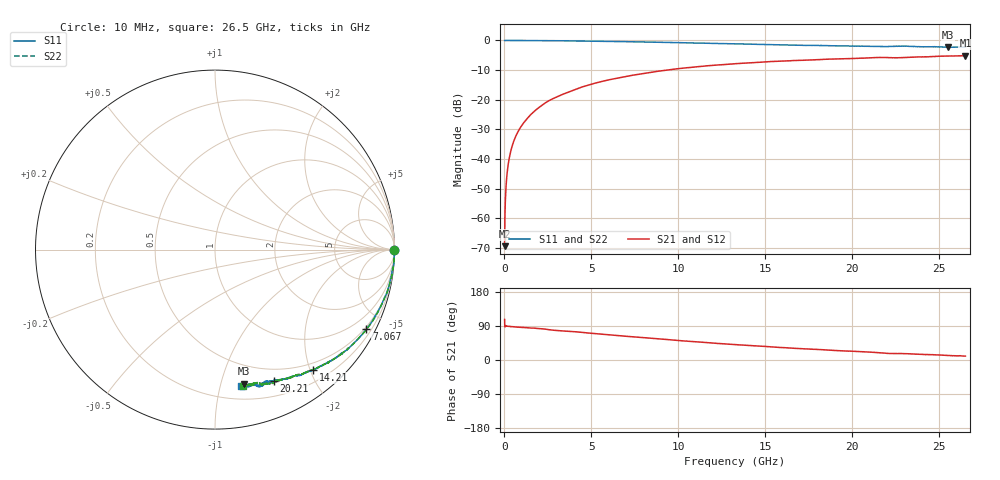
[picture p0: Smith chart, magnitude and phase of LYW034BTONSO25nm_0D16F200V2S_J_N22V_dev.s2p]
!Keysight Technologies,N5222B,MY61253708,A.15.00.15
!Date: Wednesday, June 19, 2024 08:49:51
!Correction: S11(C  2-Port  )
!S21(C  2-Port  )
!S12(C  2-Port  )
!S22(C  2-Port  )
!S2P File: Measurements: S11, S21, S12, S22:
# Hz S  RI  R 50
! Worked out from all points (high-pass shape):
!   2651 points, 10 MHz to 26.5 GHz, reference 50 ohm
!   highest |S21| = -5.10 dB at 26.5 GHz (marker M1); lowest = -69.4 dB at 10 MHz (marker M2)
!   |S21| within 3 dB of the highest: 12.69462 GHz to 12.72589 GHz (31.27 MHz wide, 0.246 % of centre); 12.74 GHz to end of sweep
!   lowest |S11| = -2.3 dB at 25.5 GHz (marker M3), VSWR 7.47, Z = 16.5 - j59.3 ohm
!   |S11| at or under -10 dB: nowhere
!   |S22| runs from -2.2 to 0.0 dB; largest |S21 - S12| = 0.0078
!   S11 on the Smith chart (normalised r, x): 10 MHz: open; 7.067 GHz: 0.41, -4.02; 14.21 GHz: 0.38, -2.05; 20.21 GHz: 0.37, -1.48; 26.5 GHz: 0.31, -1.16
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1e7  0.9988 -0.00235  -9.82e-05 0.000324  -3.85e-07 0.000666  0.9984 -0.000279
7.997358e7  0.9998 -0.00599  -1.56e-05 0.00298  3.38e-05 0.00296  0.9993 -0.00559
1.599434e8  0.9997 -0.0122  6.82e-05 0.00599  7.91e-05 0.00599  0.9995 -0.0115
1.999283e8  0.9999 -0.0146  0.000146 0.00748  0.000116 0.00754  0.9996 -0.0139
2.599057e8  0.9993 -0.0193  0.000155 0.0097  0.000175 0.00983  0.9994 -0.0184
3.598679e8  0.9991 -0.0265  0.000385 0.0134  0.00038 0.0135  0.9991 -0.0258
4.898189e8  0.9986 -0.0358  0.000665 0.0183  0.000702 0.0183  0.9988 -0.0346
6.497585e8  0.998 -0.0469  0.00116 0.0241  0.00116 0.0242  0.9981 -0.0458
8.396868e8  0.9973 -0.0603  0.00192 0.0311  0.00194 0.0312  0.9975 -0.0598
1.459453e9  0.9888 -0.1056  0.00485 0.0541  0.00485 0.0543  0.9916 -0.1014
2.339121e9  0.9779 -0.1633  0.0129 0.0871  0.0131 0.0875  0.9793 -0.1634
3.138819e9  0.9645 -0.2177  0.0253 0.1133  0.0255 0.1138  0.9656 -0.2162
4.428332e9  0.9318 -0.2984  0.0475 0.156  0.0478 0.1568  0.9337 -0.2955
7.067336e9  0.844 -0.4432  0.1158 0.2214  0.117 0.2218  0.8462 -0.4412
8.846664e9  0.7729 -0.5218  0.17 0.2509  0.1713 0.2515  0.775 -0.5199
1.3255e10  0.5848 -0.651  0.3067 0.264  0.3087 0.2639  0.5888 -0.6497
1.421464e10  0.5467 -0.6711  0.332 0.2587  0.3339 0.2586  0.5516 -0.6655
1.767333e10  0.4086 -0.716  0.4125 0.2239  0.4158 0.2226  0.4204 -0.7142
2.021237e10  0.3273 -0.7298  0.4609 0.1919  0.4623 0.1893  0.341 -0.731
2.209166e10  0.277 -0.7373  0.4901 0.153  0.4914 0.1509  0.2719 -0.7446
2.550038e10  0.1624 -0.7465  0.534 0.1112  0.5354 0.1123  0.1833 -0.7527
2.65e10  0.1448 -0.7609  0.5472 0.0999  0.546 0.097  0.1575 -0.7611
